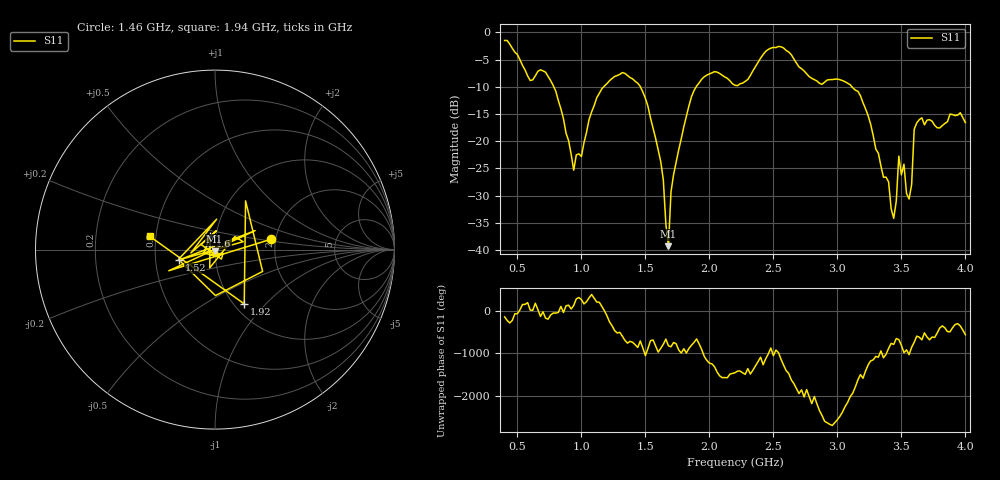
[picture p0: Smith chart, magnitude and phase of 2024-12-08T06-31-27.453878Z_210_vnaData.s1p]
!Created with skrf (http://scikit-rf.org).
# Hz S RI R 50.0
!freq ReS11 ImS11
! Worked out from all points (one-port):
!   181 points, 400 MHz to 4 GHz, reference 50 ohm
!   lowest |S11| = -39.3 dB at 1.68 GHz (marker M1), VSWR 1.02, Z = 49.7 - j1.04 ohm
!   |S11| at or under -10 dB: 784.3 MHz to 1.174 GHz (390 MHz wide, 39.8 % of centre); 1.461 GHz to 1.897 GHz (436 MHz wide, 26 % of centre); 3.113 GHz to end of sweep
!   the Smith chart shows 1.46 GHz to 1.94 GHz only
!   S11 on the Smith chart (normalised r, x): 1.46 GHz: 1.89, +0.24; 1.52 GHz: 0.66, -0.08; 1.6 GHz: 0.94, +0.15; 1.92 GHz: 1.11, -0.76; 1.94 GHz: 0.46, +0.08
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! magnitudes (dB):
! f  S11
! 400 MHz  -1.5
! 600 MHz  -8.9
! 720 MHz  -7.3
! 860 MHz  -15.9
! 940 MHz  -25.3
! 1.12 GHz  -12.0
! 1.3 GHz  -7.7
! 1.46 GHz  -9.9
! 1.52 GHz  -13.6
! 1.6 GHz  -21.7
! 1.64 GHz  -27.1
! 1.68 GHz  -39.3
! 1.7 GHz  -29.3
! 1.76 GHz  -21.6
! 1.92 GHz  -9.3
! 1.94 GHz  -8.6
! 2.2 GHz  -9.7
! 2.48 GHz  -2.9
! 2.66 GHz  -4.9
! 3.1 GHz  -9.6
! 3.24 GHz  -15.3
! 3.44 GHz  -34.2
! 3.48 GHz  -22.8
! 3.56 GHz  -30.6
! 3.58 GHz  -28.0
! 3.6 GHz  -17.8
! 3.62 GHz  -16.6
! 4 GHz  -16.6
